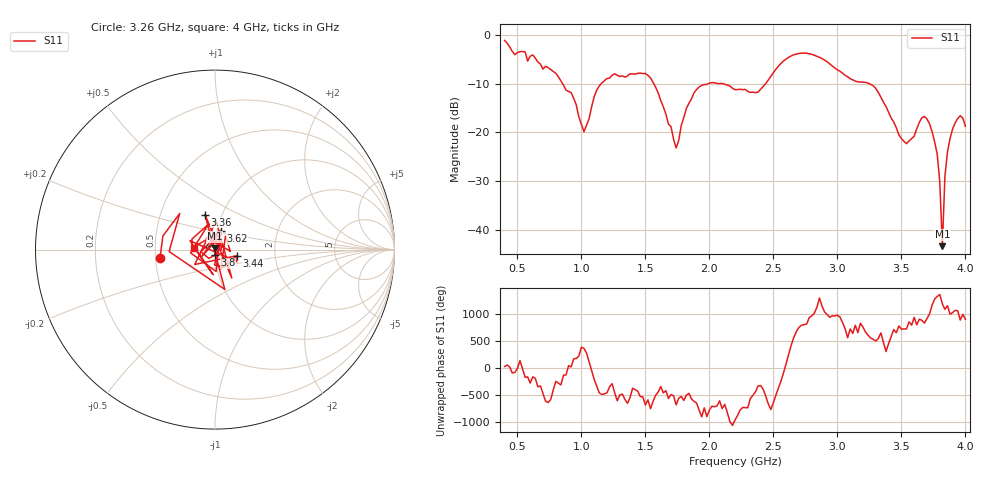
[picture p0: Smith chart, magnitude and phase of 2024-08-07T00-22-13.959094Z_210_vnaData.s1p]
!Created with skrf (http://scikit-rf.org).
# Hz S RI R 50.0
!freq ReS11 ImS11
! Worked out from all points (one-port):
!   181 points, 400 MHz to 4 GHz, reference 50 ohm
!   lowest |S11| = -43.3 dB at 3.82 GHz (marker M1), VSWR 1.01, Z = 49.9 + j0.675 ohm
!   |S11| at or under -10 dB: 1.565 GHz to 1.993 GHz (428.5 MHz wide, 24.1 % of centre); 2.103 GHz to 2.441 GHz (337.4 MHz wide, 14.9 % of centre); 3.247 GHz to end of sweep (the widest 3 of 5)
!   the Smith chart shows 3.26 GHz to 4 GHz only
!   S11 on the Smith chart (normalised r, x): 3.26 GHz: 0.53, -0.06; 3.36 GHz: 0.83, +0.34; 3.44 GHz: 1.28, -0.09; 3.62 GHz: 1.04, +0.22; 3.8 GHz: 1.00, -0.06; 4 GHz: 0.79, +0.02
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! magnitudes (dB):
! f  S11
! 400 MHz  -1.2
! 860 MHz  -10.3
! 940 MHz  -13.0
! 1.02 GHz  -19.9
! 1.14 GHz  -10.5
! 1.3 GHz  -8.5
! 1.54 GHz  -8.9
! 1.74 GHz  -23.2
! 1.76 GHz  -21.7
! 1.82 GHz  -15.1
! 1.92 GHz  -10.7
! 2.2 GHz  -11.2
! 2.38 GHz  -11.7
! 2.66 GHz  -4.1
! 3.1 GHz  -9.0
! 3.26 GHz  -10.2
! 3.36 GHz  -13.8
! 3.44 GHz  -17.9
! 3.56 GHz  -21.8
! 3.62 GHz  -19.2
! 3.72 GHz  -18.3
! 3.78 GHz  -24.5
! 3.8 GHz  -30.2
! 3.82 GHz  -43.3
! 3.84 GHz  -29.0
! 3.88 GHz  -21.3
! 3.96 GHz  -16.6
! 4 GHz  -18.7
